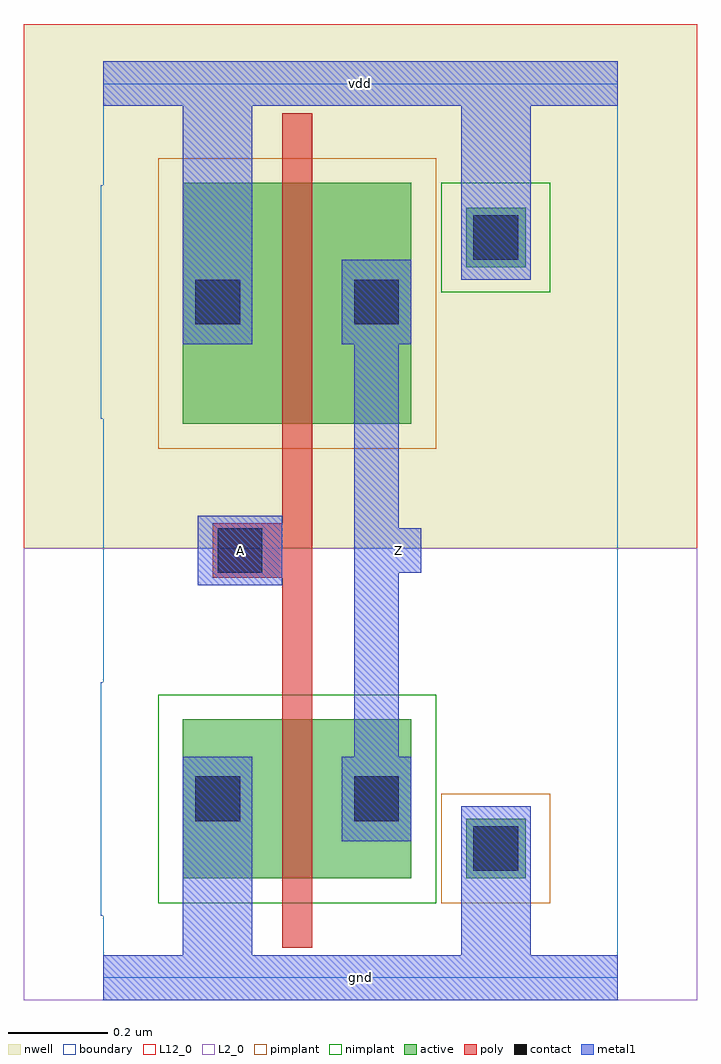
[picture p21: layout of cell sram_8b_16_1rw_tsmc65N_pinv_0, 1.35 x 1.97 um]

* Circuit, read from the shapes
.subckt sram_8b_16_1rw_tsmc65N_pinv_0 A Z gnd vdd
M1 Z A gnd gnd nfet w=0.32u l=0.06u
M2 Z A vdd vdd pfet w=0.485u l=0.06u
.ends

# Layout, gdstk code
import gdstk
lib = gdstk.Library(unit=1e-6, precision=1e-09)
def R(c, l, rs):  # rectangles x0, y0, x1, y1
    for r in rs: c.add(gdstk.rectangle(r[:2], r[2:], *l))
L2_0 = (2, 0)
nwell = (3, 0)
active = (6, 0)
L12_0 = (12, 0)
poly = (17, 0)
pimplant = (25, 0)
nimplant = (26, 0)
contact = (30, 0)
metal1 = (31, 0)
boundary = (108, 0)

sram_8b_16_1rw_tsmc65n_c = lib.new_cell('sram_8b_16_1rw_tsmc65N_contact_11')
R(sram_8b_16_1rw_tsmc65n_c, nwell, [(-0.165,-0.15,0.305,0.32)])
R(sram_8b_16_1rw_tsmc65n_c, active, [(0.01,0.025,0.13,0.145)])
R(sram_8b_16_1rw_tsmc65n_c, pimplant, [(-0.04,-0.025,0.18,0.195)])
R(sram_8b_16_1rw_tsmc65n_c, contact, [(0.025,0.04,0.115,0.13)])
R(sram_8b_16_1rw_tsmc65n_c, metal1, [(0,0,0.14,0.17)])
R(sram_8b_16_1rw_tsmc65n_c, boundary, [(-0.165,-0.15,0.305,0.32)])

sram_8b_16_1rw_tsmc65n_p = lib.new_cell('sram_8b_16_1rw_tsmc65N_pmos_m1_w0_485_sm1_dm1_da_p')
R(sram_8b_16_1rw_tsmc65n_p, nwell, [(-0.16,-0.16,0.62,0.645)])
R(sram_8b_16_1rw_tsmc65n_p, active, [(0,0,0.46,0.485)])
R(sram_8b_16_1rw_tsmc65n_p, L12_0, [(-0.16,-0.16,0.62,0.645)])
R(sram_8b_16_1rw_tsmc65n_p, poly, [(0.2,-0.14,0.26,0.625), (0.2,-0.14,0.26,0.625)])
R(sram_8b_16_1rw_tsmc65n_p, pimplant, [(-0.05,-0.05,0.51,0.535)])
R(sram_8b_16_1rw_tsmc65n_p, metal1, [(0,0.16,0.14,0.33), (0.32,0.16,0.46,0.33)])
R(sram_8b_16_1rw_tsmc65n_p, boundary, [(-0.16,-0.16,0.62,0.645)])
sram_8b_16_1rw_tsmc65n_p.add(gdstk.Reference(sram_8b_16_1rw_tsmc65n_c, (0,0.16)))
sram_8b_16_1rw_tsmc65n_p.add(gdstk.Reference(sram_8b_16_1rw_tsmc65n_c, (0.32,0.16)))
sram_8b_16_1rw_tsmc65n_p.add(gdstk.Label('G', (0.23,0.242), layer=17, texttype=0))
sram_8b_16_1rw_tsmc65n_p.add(gdstk.Label('S', (0.07,0.245), layer=31, texttype=0))
sram_8b_16_1rw_tsmc65n_p.add(gdstk.Label('D', (0.39,0.245), layer=31, texttype=0))

c_sram_8b_16_1rw_tsmc65n_c = lib.new_cell('sram_8b_16_1rw_tsmc65N_contact_10')
R(c_sram_8b_16_1rw_tsmc65n_c, L2_0, [(-0.165,-0.15,0.305,0.32)])
R(c_sram_8b_16_1rw_tsmc65n_c, active, [(0.01,0.025,0.13,0.145)])
R(c_sram_8b_16_1rw_tsmc65n_c, nimplant, [(-0.04,-0.025,0.18,0.195)])
R(c_sram_8b_16_1rw_tsmc65n_c, contact, [(0.025,0.04,0.115,0.13)])
R(c_sram_8b_16_1rw_tsmc65n_c, metal1, [(0,0,0.14,0.17)])
R(c_sram_8b_16_1rw_tsmc65n_c, boundary, [(-0.165,-0.15,0.305,0.32)])

sram_8b_16_1rw_tsmc65n_n = lib.new_cell('sram_8b_16_1rw_tsmc65N_nmos_m1_w0_320_sm1_dm1_da_p')
R(sram_8b_16_1rw_tsmc65n_n, L2_0, [(-0.16,-0.16,0.62,0.48)])
R(sram_8b_16_1rw_tsmc65n_n, active, [(0,0,0.46,0.32)])
R(sram_8b_16_1rw_tsmc65n_n, L12_0, [(-0.16,-0.16,0.62,0.48)])
R(sram_8b_16_1rw_tsmc65n_n, poly, [(0.2,-0.14,0.26,0.46), (0.2,-0.14,0.26,0.46)])
R(sram_8b_16_1rw_tsmc65n_n, nimplant, [(-0.05,-0.05,0.51,0.37)])
R(sram_8b_16_1rw_tsmc65n_n, metal1, [(0,0.075,0.14,0.245), (0.32,0.075,0.46,0.245)])
R(sram_8b_16_1rw_tsmc65n_n, boundary, [(-0.16,-0.16,0.62,0.48)])
sram_8b_16_1rw_tsmc65n_n.add(gdstk.Reference(c_sram_8b_16_1rw_tsmc65n_c, (0,0.075)))
sram_8b_16_1rw_tsmc65n_n.add(gdstk.Reference(c_sram_8b_16_1rw_tsmc65n_c, (0.32,0.075)))
sram_8b_16_1rw_tsmc65n_n.add(gdstk.Label('G', (0.23,0.16), layer=17, texttype=0))
sram_8b_16_1rw_tsmc65n_n.add(gdstk.Label('S', (0.07,0.16), layer=31, texttype=0))
sram_8b_16_1rw_tsmc65n_n.add(gdstk.Label('D', (0.39,0.16), layer=31, texttype=0))

c_sram_8b_16_1rw_tsmc65n_c_ = lib.new_cell('sram_8b_16_1rw_tsmc65N_contact_12')
R(c_sram_8b_16_1rw_tsmc65n_c_, nwell, [(-0.165,-0.15,0.305,0.32)])
R(c_sram_8b_16_1rw_tsmc65n_c_, active, [(0.01,0.025,0.13,0.145)])
R(c_sram_8b_16_1rw_tsmc65n_c_, nimplant, [(-0.04,-0.025,0.18,0.195)])
R(c_sram_8b_16_1rw_tsmc65n_c_, contact, [(0.025,0.04,0.115,0.13)])
R(c_sram_8b_16_1rw_tsmc65n_c_, metal1, [(0,0,0.14,0.17)])
R(c_sram_8b_16_1rw_tsmc65n_c_, boundary, [(-0.165,-0.15,0.305,0.32)])

c_sram_8b_16_1rw_tsmc65n_c__ = lib.new_cell('sram_8b_16_1rw_tsmc65N_contact_13')
R(c_sram_8b_16_1rw_tsmc65n_c__, L2_0, [(-0.165,-0.15,0.305,0.32)])
R(c_sram_8b_16_1rw_tsmc65n_c__, active, [(0.01,0.025,0.13,0.145)])
R(c_sram_8b_16_1rw_tsmc65n_c__, pimplant, [(-0.04,-0.025,0.18,0.195)])
R(c_sram_8b_16_1rw_tsmc65n_c__, contact, [(0.025,0.04,0.115,0.13)])
R(c_sram_8b_16_1rw_tsmc65n_c__, metal1, [(0,0,0.14,0.17)])
R(c_sram_8b_16_1rw_tsmc65n_c__, boundary, [(-0.165,-0.15,0.305,0.32)])

c_sram_8b_16_1rw_tsmc65n_c___ = lib.new_cell('sram_8b_16_1rw_tsmc65N_contact_14')
R(c_sram_8b_16_1rw_tsmc65n_c___, poly, [(0.03,0.015,0.14,0.125)])
R(c_sram_8b_16_1rw_tsmc65n_c___, contact, [(0.04,0.025,0.13,0.115)])
R(c_sram_8b_16_1rw_tsmc65n_c___, metal1, [(0,0,0.17,0.14)])
R(c_sram_8b_16_1rw_tsmc65n_c___, boundary, [(0,0,0.17,0.14)])

c_sram_8b_16_1rw_tsmc65n_p = lib.new_cell('sram_8b_16_1rw_tsmc65N_pinv_0')
R(c_sram_8b_16_1rw_tsmc65n_p, L2_0, [(-0.16,-0.045,1.195,0.865)])
R(c_sram_8b_16_1rw_tsmc65n_p, nwell, [(-0.16,0.865,1.195,1.92)])
R(c_sram_8b_16_1rw_tsmc65n_p, L12_0, [(-0.16,-0.045,1.195,0.865), (-0.16,0.865,1.195,1.92)])
R(c_sram_8b_16_1rw_tsmc65n_p, poly, [(0.36,0.66,0.42,0.975), (0.275,0.805,0.36,0.915)])
R(c_sram_8b_16_1rw_tsmc65n_p, metal1, [(0,-0.045,1.035,0.045), (0.16,-0.045,0.3,0.275), (0.72,0,0.86,0.26), (0.505,0.275,0.595,1.445), (0.19,0.79,0.36,0.93), (0.55,0.815,0.64,0.905), (0.16,1.275,0.3,1.845), (0.72,1.49,0.86,1.8), (0,1.755,1.035,1.845)])
R(c_sram_8b_16_1rw_tsmc65n_p, boundary, [(0,0,1.035,1.8), (0,0,1.035,1.8)])
c_sram_8b_16_1rw_tsmc65n_p.add(gdstk.Reference(sram_8b_16_1rw_tsmc65n_p, (0.16,1.115)))
c_sram_8b_16_1rw_tsmc65n_p.add(gdstk.Reference(sram_8b_16_1rw_tsmc65n_n, (0.16,0.2)))
c_sram_8b_16_1rw_tsmc65n_p.add(gdstk.Reference(c_sram_8b_16_1rw_tsmc65n_c_, (0.72,1.405)))
c_sram_8b_16_1rw_tsmc65n_p.add(gdstk.Reference(c_sram_8b_16_1rw_tsmc65n_c__, (0.72,0.175)))
c_sram_8b_16_1rw_tsmc65n_p.add(gdstk.Reference(c_sram_8b_16_1rw_tsmc65n_c___, (0.19,0.79)))
c_sram_8b_16_1rw_tsmc65n_p.add(gdstk.Label('A', (0.275,0.86), layer=31, texttype=0))
c_sram_8b_16_1rw_tsmc65n_p.add(gdstk.Label('Z', (0.595,0.86), layer=31, texttype=0))
c_sram_8b_16_1rw_tsmc65n_p.add(gdstk.Label('gnd', (0.518,0), layer=31, texttype=0))
c_sram_8b_16_1rw_tsmc65n_p.add(gdstk.Label('vdd', (0.518,1.8), layer=31, texttype=0))

lib.write_gds('sram_8b_16_1rw_tsmc65N_pinv_0.gds')
